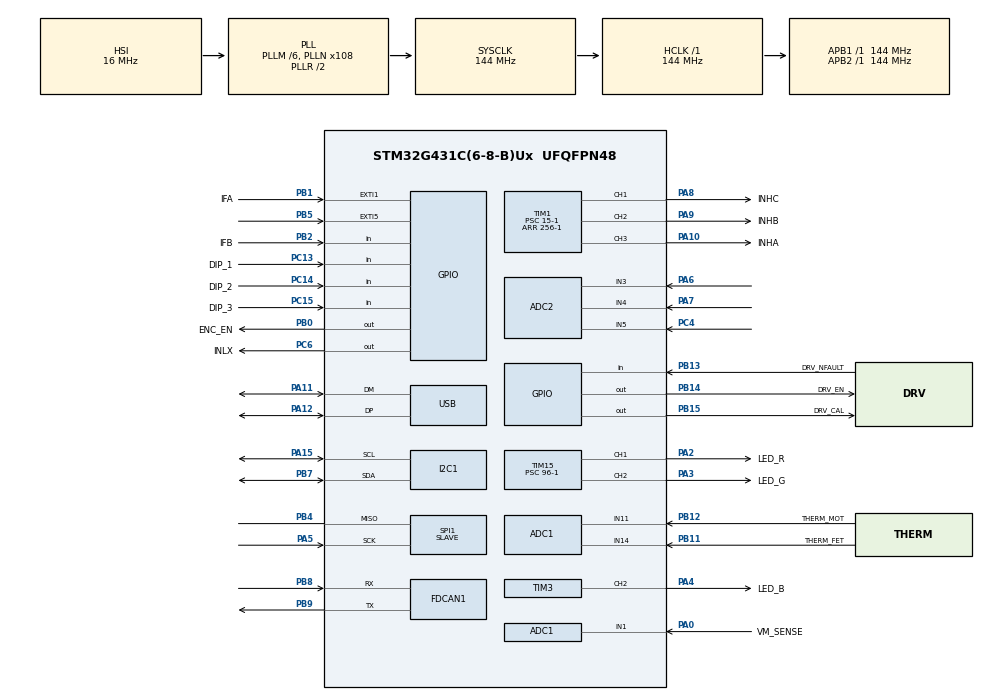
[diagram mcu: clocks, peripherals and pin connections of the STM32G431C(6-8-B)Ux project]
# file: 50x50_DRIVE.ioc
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ADC1.Channel-1\#ChannelRegularConversion=ADC_CHANNEL_1
ADC1.Channel-2\#ChannelRegularConversion=ADC_CHANNEL_TEMPSENSOR_ADC1
ADC1.Channel-3\#ChannelRegularConversion=ADC_CHANNEL_11
ADC1.Channel-4\#ChannelRegularConversion=ADC_CHANNEL_14
ADC1.ClockPrescaler=ADC_CLOCK_ASYNC_DIV4
ADC1.ContinuousConvMode=ENABLE
ADC1.DMAContinuousRequests=ENABLE
ADC1.NbrOfConversion=4
ADC1.NbrOfConversionFlag=1
ADC1.OffsetNumber-1\#ChannelRegularConversion=ADC_OFFSET_NONE
ADC1.OffsetNumber-2\#ChannelRegularConversion=ADC_OFFSET_NONE
ADC1.OffsetNumber-3\#ChannelRegularConversion=ADC_OFFSET_NONE
ADC1.OffsetNumber-4\#ChannelRegularConversion=ADC_OFFSET_NONE
ADC1.OversamplingMode=DISABLE
ADC1.Rank-1\#ChannelRegularConversion=1
ADC1.Rank-2\#ChannelRegularConversion=2
ADC1.Rank-3\#ChannelRegularConversion=3
ADC1.Rank-4\#ChannelRegularConversion=4
ADC1.SamplingTime-1\#ChannelRegularConversion=ADC_SAMPLETIME_12CYCLES_5
ADC1.SamplingTime-2\#ChannelRegularConversion=ADC_SAMPLETIME_12CYCLES_5
ADC1.SamplingTime-3\#ChannelRegularConversion=ADC_SAMPLETIME_12CYCLES_5
ADC1.SamplingTime-4\#ChannelRegularConversion=ADC_SAMPLETIME_12CYCLES_5
ADC1.master=1
ADC2.Channel-10\#ChannelRegularConversion=ADC_CHANNEL_5
ADC2.Channel-6\#ChannelRegularConversion=ADC_CHANNEL_3
ADC2.Channel-9\#ChannelRegularConversion=ADC_CHANNEL_4
ADC2.ClockPrescaler=ADC_CLOCK_ASYNC_DIV4
ADC2.DMAContinuousRequests=ENABLE
ADC2.DiscontinuousConvMode=DISABLE
ADC2.EOCSelection=ADC_EOC_SEQ_CONV
ADC2.EnableInjectedConversion=DISABLE
ADC2.ExternalTrigConv=ADC_EXTERNALTRIG_T1_TRGO
ADC2.ExternalTrigConvEdge=ADC_EXTERNALTRIGCONVEDGE_RISING
ADC2.NbrOfConversion=3
ADC2.NbrOfConversionFlag=1
ADC2.OffsetNumber-10\#ChannelRegularConversion=ADC_OFFSET_NONE
ADC2.OffsetNumber-6\#ChannelRegularConversion=ADC_OFFSET_NONE
ADC2.OffsetNumber-9\#ChannelRegularConversion=ADC_OFFSET_NONE
ADC2.Rank-10\#ChannelRegularConversion=3
ADC2.Rank-6\#ChannelRegularConversion=1
ADC2.Rank-9\#ChannelRegularConversion=2
ADC2.Rank1_Channel=ADC_CHANNEL_3
ADC2.Rank2_Channel=ADC_CHANNEL_3
ADC2.Rank3_Channel=ADC_CHANNEL_3
ADC2.SamplingTime-10\#ChannelRegularConversion=ADC_SAMPLETIME_2CYCLES_5
ADC2.SamplingTime-6\#ChannelRegularConversion=ADC_SAMPLETIME_2CYCLES_5
ADC2.SamplingTime-9\#ChannelRegularConversion=ADC_SAMPLETIME_2CYCLES_5
Dma.ADC1.0.Direction=DMA_PERIPH_TO_MEMORY
Dma.ADC1.0.EventEnable=DISABLE
Dma.ADC1.0.Instance=DMA1_Channel1
Dma.ADC1.0.MemDataAlignment=DMA_MDATAALIGN_HALFWORD
Dma.ADC1.0.MemInc=DMA_MINC_ENABLE
Dma.ADC1.0.Mode=DMA_CIRCULAR
Dma.ADC1.0.PeriphDataAlignment=DMA_PDATAALIGN_HALFWORD
Dma.ADC1.0.PeriphInc=DMA_PINC_DISABLE
Dma.ADC1.0.Polarity=HAL_DMAMUX_REQ_GEN_RISING
Dma.ADC1.0.Priority=DMA_PRIORITY_LOW
Dma.ADC1.0.RequestNumber=1
Dma.ADC1.0.SignalID=NONE
Dma.ADC1.0.SyncEnable=DISABLE
Dma.ADC1.0.SyncPolarity=HAL_DMAMUX_SYNC_NO_EVENT
Dma.ADC1.0.SyncRequestNumber=1
Dma.ADC1.0.SyncSignalID=NONE
Dma.ADC2.1.Direction=DMA_PERIPH_TO_MEMORY
Dma.ADC2.1.EventEnable=DISABLE
Dma.ADC2.1.Instance=DMA1_Channel2
Dma.ADC2.1.MemDataAlignment=DMA_MDATAALIGN_HALFWORD
Dma.ADC2.1.MemInc=DMA_MINC_ENABLE
Dma.ADC2.1.Mode=DMA_CIRCULAR
Dma.ADC2.1.PeriphDataAlignment=DMA_PDATAALIGN_HALFWORD
Dma.ADC2.1.PeriphInc=DMA_PINC_DISABLE
Dma.ADC2.1.Polarity=HAL_DMAMUX_REQ_GEN_RISING
Dma.ADC2.1.Priority=DMA_PRIORITY_LOW
Dma.ADC2.1.RequestNumber=1
Dma.ADC2.1.SignalID=NONE
Dma.ADC2.1.SyncEnable=DISABLE
Dma.ADC2.1.SyncPolarity=HAL_DMAMUX_SYNC_NO_EVENT
Dma.ADC2.1.SyncRequestNumber=1
Dma.ADC2.1.SyncSignalID=NONE
Dma.Request0=ADC1
Dma.Request1=ADC2
FDCAN1.AutoRetransmission=ENABLE
FDCAN1.CalculateBaudRateNominal=500000
FDCAN1.CalculateTimeBitNominal=2000
FDCAN1.CalculateTimeQuantumNominal=111.11111111111111
FDCAN1.NominalTimeSeg1=15
FDCAN1.ProtocolException=ENABLE
FDCAN1.TransmitPause=ENABLE
FREERTOS.Tasks01=defaultTask,24,128,StartDefaultTask,Default,NULL,Dynamic,NULL,NULL;statusBlink,8,128,StartStatusBlink,Default,NULL,Dynamic,NULL,NULL;mainStateLoop,40,128,StartMainStateLoop,Default,NULL,Dynamic,NULL,NULL
FREERTOS.configLIBRARY_MAX_SYSCALL_INTERRUPT_PRIORITY=5
I2C1.Timing=0x20B0D9FF
Mcu.Family=STM32G4
Mcu.Name=STM32G431C(6-8-B)Ux
Mcu.Package=UFQFPN48
NVIC.ADC1_2_IRQn=true\:5\:0\:false\:false\:true\:false\:true\:true\:true
NVIC.DMA1_Channel1_IRQn=true\:5\:0\:false\:false\:true\:false\:false\:true\:true
NVIC.DMA1_Channel2_IRQn=true\:5\:0\:false\:false\:true\:false\:false\:true\:true
NVIC.EXTI1_IRQn=true\:1\:0\:true\:false\:true\:false\:true\:true\:true
NVIC.FDCAN1_IT0_IRQn=true\:6\:0\:true\:false\:true\:false\:true\:true\:true
NVIC.PriorityGroup=NVIC_PRIORITYGROUP_4
NVIC.TIM1_TRG_COM_TIM17_IRQn=true\:5\:0\:false\:false\:true\:true\:true\:true\:true
NVIC.TIM1_UP_TIM16_IRQn=true\:5\:0\:false\:false\:true\:true\:true\:true\:true
NVIC.TIM2_IRQn=true\:15\:0\:false\:false\:true\:false\:false\:true\:true
NVIC.TIM6_DAC_IRQn=true\:6\:0\:true\:false\:true\:false\:true\:true\:true
NVIC.TimeBase=TIM2_IRQn
NVIC.TimeBaseIP=TIM2
NVIC.USB_LP_IRQn=true\:5\:0\:false\:false\:true\:true\:false\:true\:true
PA0.GPIO_Label=VM_SENSE
PA0.Mode=IN1-Single-Ended
PA0.Signal=ADC1_IN1
PA10.GPIO_Label=INHA
PA10.Signal=S_TIM1_CH3
PA11.Mode=Device
PA11.Signal=USB_DM
PA12.Mode=Device
PA12.Signal=USB_DP
PA13.Mode=Trace_Asynchronous_SW
PA13.Signal=SYS_JTMS-SWDIO
PA14.Mode=Trace_Asynchronous_SW
PA14.Signal=SYS_JTCK-SWCLK
PA15.Mode=I2C
PA15.Signal=I2C1_SCL
PA2.GPIO_Label=LED_R
PA2.Signal=S_TIM15_CH1
PA3.GPIO_Label=LED_G
PA3.Signal=S_TIM15_CH2
PA4.GPIO_Label=LED_B
PA4.Signal=S_TIM3_CH2
PA5.Mode=Simplex_Bidirectional_Slave
PA5.Signal=SPI1_SCK
PA6.GPIO_Mode=GPIO_MODE_ANALOG
PA6.GPIO_PuPd=GPIO_NOPULL
PA6.Mode=IN3-Single-Ended
PA6.Signal=ADC2_IN3
PA7.GPIO_Mode=GPIO_MODE_ANALOG
PA7.GPIO_PuPd=GPIO_NOPULL
PA7.Mode=IN4-Single-Ended
PA7.Signal=ADC2_IN4
PA8.GPIO_Label=INHC
PA8.Signal=S_TIM1_CH1
PA9.GPIO_Label=INHB
PA9.Signal=S_TIM1_CH2
PB0.GPIO_Label=ENC_EN
PB0.Signal=GPIO_Output
PB1.GPIO_Label=IFA
PB1.GPIO_ModeDefaultEXTI=GPIO_MODE_IT_RISING
PB1.GPIO_PuPd=GPIO_NOPULL
PB1.Signal=GPXTI1
PB11.GPIO_Label=THERM_FET
PB11.Mode=IN14-Single-Ended
PB11.Signal=ADC1_IN14
PB12.GPIO_Label=THERM_MOT
PB12.Mode=IN11-Single-Ended
PB12.Signal=ADC1_IN11
PB13.GPIO_Label=DRV_NFAULT
PB13.Signal=GPIO_Input
PB14.GPIO_Label=DRV_EN
PB14.Signal=GPIO_Output
PB15.GPIO_Label=DRV_CAL
PB15.Signal=GPIO_Output
PB2.GPIO_Label=IFB
PB2.GPIO_PuPd=GPIO_NOPULL
PB2.Signal=GPIO_Input
PB3.Mode=Trace_Asynchronous_SW
PB3.Signal=SYS_JTDO-SWO
PB4.Mode=Simplex_Bidirectional_Slave
PB4.Signal=SPI1_MISO
PB5.Signal=GPXTI5
PB7.Mode=I2C
PB7.Signal=I2C1_SDA
PB8-BOOT0.Mode=FDCAN_Activate
PB8-BOOT0.Signal=FDCAN1_RX
PB9.Mode=FDCAN_Activate
PB9.Signal=FDCAN1_TX
PC13.GPIO_Label=DIP_1
PC13.GPIO_Mode=GPIO_MODE_INPUT
PC13.GPIO_PuPd=GPIO_PULLUP
PC13.Signal=GPIO_Input
PC14-OSC32_IN.GPIO_Label=DIP_2
PC14-OSC32_IN.GPIO_Mode=GPIO_MODE_INPUT
PC14-OSC32_IN.GPIO_PuPd=GPIO_PULLUP
PC14-OSC32_IN.Signal=GPIO_Input
PC15-OSC32_OUT.GPIO_Label=DIP_3
PC15-OSC32_OUT.GPIO_Mode=GPIO_MODE_INPUT
PC15-OSC32_OUT.GPIO_PuPd=GPIO_PULLUP
PC15-OSC32_OUT.Signal=GPIO_Input
PC4.GPIO_Mode=GPIO_MODE_ANALOG
PC4.GPIO_PuPd=GPIO_NOPULL
PC4.Mode=IN5-Single-Ended
PC4.Signal=ADC2_IN5
PC6.GPIO_Label=INLX
PC6.Signal=GPIO_Output
ProjectManager.HeapSize=0x200
ProjectManager.StackSize=0x400
ProjectManager.TargetToolchain=Makefile
RCC.ADC12Freq_Value=144000000
RCC.AHBFreq_Value=144000000
RCC.APB1Freq_Value=144000000
RCC.APB1TimFreq_Value=144000000
RCC.APB2Freq_Value=144000000
RCC.APB2TimFreq_Value=144000000
RCC.CortexFreq_Value=144000000
RCC.EXTERNAL_CLOCK_VALUE=12288000
RCC.HCLKFreq_Value=144000000
RCC.HSE_VALUE=8000000
RCC.HSI48_VALUE=48000000
RCC.HSI_VALUE=16000000
RCC.LSE_VALUE=32768
RCC.PLLM=RCC_PLLM_DIV6
RCC.PLLN=108
RCC.PLLQ=RCC_PLLQ_DIV6
RCC.SYSCLKFreq_VALUE=144000000
RCC.SYSCLKSource=RCC_SYSCLKSOURCE_PLLCLK
RCC.USBFreq_Value=48000000
RCC.VCOOutputFreq_Value=288000000
SH.S_TIM15_CH1.0=TIM15_CH1,PWM Generation1 CH1
SH.S_TIM15_CH2.0=TIM15_CH2,PWM Generation2 CH2
SH.S_TIM1_CH1.0=TIM1_CH1,PWM Generation1 CH1
SH.S_TIM1_CH2.0=TIM1_CH2,PWM Generation2 CH2
SH.S_TIM1_CH3.0=TIM1_CH3,PWM Generation3 CH3
SH.S_TIM3_CH2.0=TIM3_CH2,PWM Generation2 CH2
SPI1.Direction=SPI_DIRECTION_1LINE
SPI1.Mode=SPI_MODE_SLAVE
SPI1.VirtualType=VM_SLAVE
TIM1.AutoReloadPreload=TIM_AUTORELOAD_PRELOAD_DISABLE
TIM1.Channel-Output\ Compare4\ No\ Output=TIM_CHANNEL_4
TIM1.Channel-PWM\ Generation1\ CH1=TIM_CHANNEL_1
TIM1.Channel-PWM\ Generation2\ CH2=TIM_CHANNEL_2
TIM1.Channel-PWM\ Generation3\ CH3=TIM_CHANNEL_3
TIM1.CounterMode=TIM_COUNTERMODE_CENTERALIGNED1
TIM1.OCMode_4=TIM_OCMODE_DIRECTION_OUTPUT
TIM1.OCPolarity_1=TIM_OCPOLARITY_HIGH
TIM1.OCPolarity_2=TIM_OCPOLARITY_HIGH
TIM1.OCPolarity_3=TIM_OCPOLARITY_HIGH
TIM1.PeriodNoDither=256-1
TIM1.Prescaler=15-1
TIM1.TIM_MasterOutputTrigger=TIM_TRGO_OC4REF
TIM1.TIM_MasterOutputTrigger2=TIM_TRGO2_RESET
TIM1.TIM_MasterSlaveMode=TIM_MASTERSLAVEMODE_DISABLE
TIM15.Channel-PWM\ Generation1\ CH1=TIM_CHANNEL_1
TIM15.Channel-PWM\ Generation2\ CH2=TIM_CHANNEL_2
TIM15.OCIdleState_1=TIM_OCIDLESTATE_SET
TIM15.OCIdleState_2=TIM_OCIDLESTATE_SET
TIM15.OCPolarity_1=TIM_OCPOLARITY_LOW
TIM15.OCPolarity_2=TIM_OCPOLARITY_LOW
TIM15.PeriodNoDither=200-1
TIM15.Prescaler=96-1
TIM16.PeriodNoDither=1000-1
TIM16.Prescaler=144-1
TIM3.Channel-PWM\ Generation2\ CH2=TIM_CHANNEL_2
TIM3.OCPolarity_2=TIM_OCPOLARITY_LOW
TIM3.PeriodNoDither=200-1
TIM3.Prescaler=96 -1
TIM6.PeriodNoDither=100-1
TIM6.Prescaler=144-1
TIM7.Prescaler=14400-1
USB.Sof_enable=ENABLE
USB_DEVICE.CLASS_NAME_FS=CDC
USB_DEVICE.PRODUCT_STRING_CDC_FS=50x50-Drive
USB_DEVICE.USBD_DEBUG_LEVEL=1
USB_DEVICE.USBD_SELF_POWERED=0
USB_DEVICE.VirtualMode=Cdc
USB_DEVICE.VirtualModeFS=Cdc_FS
VP_ADC1_TempSens_Input.Mode=IN-TempSens
VP_FREERTOS_VS_CMSIS_V2.Mode=CMSIS_V2
VP_SYS_VS_DBSignals.Mode=DisableDeadBatterySignals
VP_SYS_VS_tim2.Mode=TIM2
VP_TIM16_VS_ClockSourceINT.Mode=Enable_Timer
VP_TIM1_VS_ClockSourceINT.Mode=Internal
VP_TIM1_VS_no_output4.Mode=Output Compare4 No Output
VP_TIM3_VS_ClockSourceITR.Mode=TriggerSource_ITR0
VP_TIM6_VS_ClockSourceINT.Mode=Enable_Timer
VP_TIM7_VS_ClockSourceINT.Mode=Enable_Timer
VP_USB_DEVICE_VS_USB_DEVICE_CDC_FS.Mode=CDC_FS
board=custom

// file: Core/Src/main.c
/* USER CODE BEGIN Header */
/**
  ******************************************************************************
  * @file           : main.c
  * @brief          : Main program body
  ******************************************************************************
  * @attention
  *
  * Copyright (c) 2023 STMicroelectronics.
  * All rights reserved.
  *
  * This software is licensed under terms that can be found in the LICENSE file
  * in the root directory of this software component.
  * If no LICENSE file comes with this software, it is provided AS-IS.
  *
  ******************************************************************************
  */
/* USER CODE END Header */
#include "main.h"
#include "cmsis_os.h"
#include "usb_device.h"

/* USER CODE BEGIN Includes */
#include "app.h"
#include "foc.h"
#include "sensors.h"
#include "mem.h"
/* USER CODE END Includes */

ADC_HandleTypeDef hadc1;
ADC_HandleTypeDef hadc2;
DMA_HandleTypeDef hdma_adc1;
DMA_HandleTypeDef hdma_adc2;

FDCAN_HandleTypeDef hfdcan1;

I2C_HandleTypeDef hi2c1;

SPI_HandleTypeDef hspi1;

TIM_HandleTypeDef htim1;
TIM_HandleTypeDef htim3;
TIM_HandleTypeDef htim6;
TIM_HandleTypeDef htim7;
TIM_HandleTypeDef htim15;
TIM_HandleTypeDef htim16;

/* Definitions for defaultTask */
osThreadId_t defaultTaskHandle;
const osThreadAttr_t defaultTask_attributes = {
  .name = "defaultTask",
  .priority = (osPriority_t) osPriorityNormal,
  .stack_size = 128 * 4
};
/* Definitions for statusBlink */
osThreadId_t statusBlinkHandle;
const osThreadAttr_t statusBlink_attributes = {
  .name = "statusBlink",
  .priority = (osPriority_t) osPriorityLow,
  .stack_size = 128 * 4
};
/* Definitions for mainStateLoop */
osThreadId_t mainStateLoopHandle;
const osThreadAttr_t mainStateLoop_attributes = {
  .name = "mainStateLoop",
  .priority = (osPriority_t) osPriorityHigh,
  .stack_size = 128 * 4
};

void SystemClock_Config(void);
static void MX_GPIO_Init(void);
static void MX_DMA_Init(void);
static void MX_ADC1_Init(void);
static void MX_ADC2_Init(void);
static void MX_TIM1_Init(void);
static void MX_I2C1_Init(void);
static void MX_TIM3_Init(void);
static void MX_TIM15_Init(void);
static void MX_TIM6_Init(void);
static void MX_TIM7_Init(void);
static void MX_FDCAN1_Init(void);
static void MX_SPI1_Init(void);
static void MX_TIM16_Init(void);
void StartDefaultTask(void *argument);
void StartStatusBlink(void *argument);
void StartMainStateLoop(void *argument);

int main(void)
{

  /* MCU Configuration--------------------------------------------------------*/

  /* Reset of all peripherals, Initializes the Flash interface and the Systick. */
  HAL_Init();

  /* USER CODE BEGIN Init */
  __enable_irq();
  /* USER CODE END Init */

  /* Configure the system clock */
  SystemClock_Config();

  /* Initialize all configured peripherals */
  MX_GPIO_Init();
  MX_DMA_Init();
  MX_ADC1_Init();
  MX_ADC2_Init();
  MX_TIM1_Init();
  MX_I2C1_Init();
  MX_USB_Device_Init();
  MX_TIM3_Init();
  MX_TIM15_Init();
  MX_TIM6_Init();
  MX_TIM7_Init();
  MX_FDCAN1_Init();
  MX_SPI1_Init();
  MX_TIM16_Init();
  /* USER CODE BEGIN 2 */
  app_setup();

  // mem_write_uint32(500000, 1, 0);
  // volatile uint32_t test = mem_read_uint32(1, 0);

  /* USER CODE END 2 */

  /* Init scheduler */
  osKernelInitialize();

  /* Create the thread(s) */
  /* creation of defaultTask */
  defaultTaskHandle = osThreadNew(StartDefaultTask, NULL, &defaultTask_attributes);

  /* creation of statusBlink */
  statusBlinkHandle = osThreadNew(StartStatusBlink, NULL, &statusBlink_attributes);

  /* creation of mainStateLoop */
  mainStateLoopHandle = osThreadNew(StartMainStateLoop, NULL, &mainStateLoop_attributes);

  /* Start scheduler */
  osKernelStart();

  /* We should never get here as control is now taken by the scheduler */
  /* Infinite loop */
  while (1)
  {

  }
}

void SystemClock_Config(void)
{
  RCC_OscInitTypeDef RCC_OscInitStruct = {0};
  RCC_ClkInitTypeDef RCC_ClkInitStruct = {0};

  /** Configure the main internal regulator output voltage
  */
  HAL_PWREx_ControlVoltageScaling(PWR_REGULATOR_VOLTAGE_SCALE1);

  /** Initializes the RCC Oscillators according to the specified parameters
  * in the RCC_OscInitTypeDef structure.
  */
  RCC_OscInitStruct.OscillatorType = RCC_OSCILLATORTYPE_HSI;
  RCC_OscInitStruct.HSIState = RCC_HSI_ON;
  RCC_OscInitStruct.HSICalibrationValue = RCC_HSICALIBRATION_DEFAULT;
  RCC_OscInitStruct.PLL.PLLState = RCC_PLL_ON;
  RCC_OscInitStruct.PLL.PLLSource = RCC_PLLSOURCE_HSI;
  RCC_OscInitStruct.PLL.PLLM = RCC_PLLM_DIV6;
  RCC_OscInitStruct.PLL.PLLN = 108;
  RCC_OscInitStruct.PLL.PLLP = RCC_PLLP_DIV2;
  RCC_OscInitStruct.PLL.PLLQ = RCC_PLLQ_DIV6;
  RCC_OscInitStruct.PLL.PLLR = RCC_PLLR_DIV2;
  if (HAL_RCC_OscConfig(&RCC_OscInitStruct) != HAL_OK)
  {
    Error_Handler();
  }

  /** Initializes the CPU, AHB and APB buses clocks
  */
  RCC_ClkInitStruct.ClockType = RCC_CLOCKTYPE_HCLK|RCC_CLOCKTYPE_SYSCLK
                              |RCC_CLOCKTYPE_PCLK1|RCC_CLOCKTYPE_PCLK2;
  RCC_ClkInitStruct.SYSCLKSource = RCC_SYSCLKSOURCE_PLLCLK;
  RCC_ClkInitStruct.AHBCLKDivider = RCC_SYSCLK_DIV1;
  RCC_ClkInitStruct.APB1CLKDivider = RCC_HCLK_DIV1;
  RCC_ClkInitStruct.APB2CLKDivider = RCC_HCLK_DIV1;

  if (HAL_RCC_ClockConfig(&RCC_ClkInitStruct, FLASH_LATENCY_4) != HAL_OK)
  {
    Error_Handler();
  }
}

static void MX_ADC1_Init(void)
{

  ADC_MultiModeTypeDef multimode = {0};
  ADC_ChannelConfTypeDef sConfig = {0};

  /** Common config
  */
  hadc1.Instance = ADC1;
  hadc1.Init.ClockPrescaler = ADC_CLOCK_ASYNC_DIV4;
  hadc1.Init.Resolution = ADC_RESOLUTION_12B;
  hadc1.Init.DataAlign = ADC_DATAALIGN_RIGHT;
  hadc1.Init.GainCompensation = 0;
  hadc1.Init.ScanConvMode = ADC_SCAN_ENABLE;
  hadc1.Init.EOCSelection = ADC_EOC_SINGLE_CONV;
  hadc1.Init.LowPowerAutoWait = DISABLE;
  hadc1.Init.ContinuousConvMode = ENABLE;
  hadc1.Init.NbrOfConversion = 4;
  hadc1.Init.DiscontinuousConvMode = DISABLE;
  hadc1.Init.ExternalTrigConv = ADC_SOFTWARE_START;
  hadc1.Init.ExternalTrigConvEdge = ADC_EXTERNALTRIGCONVEDGE_NONE;
  hadc1.Init.DMAContinuousRequests = ENABLE;
  hadc1.Init.Overrun = ADC_OVR_DATA_PRESERVED;
  hadc1.Init.OversamplingMode = DISABLE;
  if (HAL_ADC_Init(&hadc1) != HAL_OK)
  {
    Error_Handler();
  }

  /** Configure the ADC multi-mode
  */
  multimode.Mode = ADC_MODE_INDEPENDENT;
  if (HAL_ADCEx_MultiModeConfigChannel(&hadc1, &multimode) != HAL_OK)
  {
    Error_Handler();
  }

  /** Configure Regular Channel
  */
  sConfig.Channel = ADC_CHANNEL_1;
  sConfig.Rank = ADC_REGULAR_RANK_1;
  sConfig.SamplingTime = ADC_SAMPLETIME_12CYCLES_5;
  sConfig.SingleDiff = ADC_SINGLE_ENDED;
  sConfig.OffsetNumber = ADC_OFFSET_NONE;
  sConfig.Offset = 0;
  if (HAL_ADC_ConfigChannel(&hadc1, &sConfig) != HAL_OK)
  {
    Error_Handler();
  }

  /** Configure Regular Channel
  */
  sConfig.Channel = ADC_CHANNEL_TEMPSENSOR_ADC1;
  sConfig.Rank = ADC_REGULAR_RANK_2;
  if (HAL_ADC_ConfigChannel(&hadc1, &sConfig) != HAL_OK)
  {
    Error_Handler();
  }

  /** Configure Regular Channel
  */
  sConfig.Channel = ADC_CHANNEL_11;
  sConfig.Rank = ADC_REGULAR_RANK_3;
  if (HAL_ADC_ConfigChannel(&hadc1, &sConfig) != HAL_OK)
  {
    Error_Handler();
  }

  /** Configure Regular Channel
  */
  sConfig.Channel = ADC_CHANNEL_14;
  sConfig.Rank = ADC_REGULAR_RANK_4;
  if (HAL_ADC_ConfigChannel(&hadc1, &sConfig) != HAL_OK)
  {
    Error_Handler();
  }

}

static void MX_ADC2_Init(void)
{

  ADC_ChannelConfTypeDef sConfig = {0};

  /** Common config
  */
  hadc2.Instance = ADC2;
  hadc2.Init.ClockPrescaler = ADC_CLOCK_ASYNC_DIV4;
  hadc2.Init.Resolution = ADC_RESOLUTION_12B;
  hadc2.Init.DataAlign = ADC_DATAALIGN_RIGHT;
  hadc2.Init.GainCompensation = 0;
  hadc2.Init.ScanConvMode = ADC_SCAN_ENABLE;
  hadc2.Init.EOCSelection = ADC_EOC_SEQ_CONV;
  hadc2.Init.LowPowerAutoWait = DISABLE;
  hadc2.Init.ContinuousConvMode = DISABLE;
  hadc2.Init.NbrOfConversion = 3;
  hadc2.Init.DiscontinuousConvMode = DISABLE;
  hadc2.Init.ExternalTrigConv = ADC_EXTERNALTRIG_T1_TRGO;
  hadc2.Init.ExternalTrigConvEdge = ADC_EXTERNALTRIGCONVEDGE_RISING;
  hadc2.Init.DMAContinuousRequests = ENABLE;
  hadc2.Init.Overrun = ADC_OVR_DATA_PRESERVED;
  hadc2.Init.OversamplingMode = DISABLE;
  if (HAL_ADC_Init(&hadc2) != HAL_OK)
  {
    Error_Handler();
  }

  /** Configure Regular Channel
  */
  sConfig.Channel = ADC_CHANNEL_3;
  sConfig.Rank = ADC_REGULAR_RANK_1;
  sConfig.SamplingTime = ADC_SAMPLETIME_2CYCLES_5;
  sConfig.SingleDiff = ADC_SINGLE_ENDED;
  sConfig.OffsetNumber = ADC_OFFSET_NONE;
  sConfig.Offset = 0;
  if (HAL_ADC_ConfigChannel(&hadc2, &sConfig) != HAL_OK)
  {
    Error_Handler();
  }

  /** Configure Regular Channel
  */
  sConfig.Channel = ADC_CHANNEL_4;
  sConfig.Rank = ADC_REGULAR_RANK_2;
  if (HAL_ADC_ConfigChannel(&hadc2, &sConfig) != HAL_OK)
  {
    Error_Handler();
  }

  /** Configure Regular Channel
  */
  sConfig.Channel = ADC_CHANNEL_5;
  sConfig.Rank = ADC_REGULAR_RANK_3;
  if (HAL_ADC_ConfigChannel(&hadc2, &sConfig) != HAL_OK)
  {
    Error_Handler();
  }

}

static void MX_FDCAN1_Init(void)
{

  hfdcan1.Instance = FDCAN1;
  hfdcan1.Init.ClockDivider = FDCAN_CLOCK_DIV1;
  hfdcan1.Init.FrameFormat = FDCAN_FRAME_CLASSIC;
  hfdcan1.Init.Mode = FDCAN_MODE_NORMAL;
  hfdcan1.Init.AutoRetransmission = ENABLE;
  hfdcan1.Init.TransmitPause = ENABLE;
  hfdcan1.Init.ProtocolException = ENABLE;
  hfdcan1.Init.NominalPrescaler = 16;
  hfdcan1.Init.NominalSyncJumpWidth = 1;
  hfdcan1.Init.NominalTimeSeg1 = 15;
  hfdcan1.Init.NominalTimeSeg2 = 2;
  hfdcan1.Init.DataPrescaler = 1;
  hfdcan1.Init.DataSyncJumpWidth = 1;
  hfdcan1.Init.DataTimeSeg1 = 1;
  hfdcan1.Init.DataTimeSeg2 = 1;
  hfdcan1.Init.StdFiltersNbr = 0;
  hfdcan1.Init.ExtFiltersNbr = 0;
  hfdcan1.Init.TxFifoQueueMode = FDCAN_TX_FIFO_OPERATION;
  if (HAL_FDCAN_Init(&hfdcan1) != HAL_OK)
  {
    Error_Handler();
  }

}

static void MX_I2C1_Init(void)
{

  hi2c1.Instance = I2C1;
  hi2c1.Init.Timing = 0x20B0D9FF;
  hi2c1.Init.OwnAddress1 = 0;
  hi2c1.Init.AddressingMode = I2C_ADDRESSINGMODE_7BIT;
  hi2c1.Init.DualAddressMode = I2C_DUALADDRESS_DISABLE;
  hi2c1.Init.OwnAddress2 = 0;
  hi2c1.Init.OwnAddress2Masks = I2C_OA2_NOMASK;
  hi2c1.Init.GeneralCallMode = I2C_GENERALCALL_DISABLE;
  hi2c1.Init.NoStretchMode = I2C_NOSTRETCH_DISABLE;
  if (HAL_I2C_Init(&hi2c1) != HAL_OK)
  {
    Error_Handler();
  }

  /** Configure Analogue filter
  */
  if (HAL_I2CEx_ConfigAnalogFilter(&hi2c1, I2C_ANALOGFILTER_ENABLE) != HAL_OK)
  {
    Error_Handler();
  }

  /** Configure Digital filter
  */
  if (HAL_I2CEx_ConfigDigitalFilter(&hi2c1, 0) != HAL_OK)
  {
    Error_Handler();
  }

}

static void MX_SPI1_Init(void)
{

  /* SPI1 parameter configuration*/
  hspi1.Instance = SPI1;
  hspi1.Init.Mode = SPI_MODE_SLAVE;
  hspi1.Init.Direction = SPI_DIRECTION_1LINE;
  hspi1.Init.DataSize = SPI_DATASIZE_4BIT;
  hspi1.Init.CLKPolarity = SPI_POLARITY_LOW;
  hspi1.Init.CLKPhase = SPI_PHASE_1EDGE;
  hspi1.Init.NSS = SPI_NSS_SOFT;
  hspi1.Init.FirstBit = SPI_FIRSTBIT_MSB;
  hspi1.Init.TIMode = SPI_TIMODE_DISABLE;
  hspi1.Init.CRCCalculation = SPI_CRCCALCULATION_DISABLE;
  hspi1.Init.CRCPolynomial = 7;
  hspi1.Init.CRCLength = SPI_CRC_LENGTH_DATASIZE;
  hspi1.Init.NSSPMode = SPI_NSS_PULSE_DISABLE;
  if (HAL_SPI_Init(&hspi1) != HAL_OK)
  {
    Error_Handler();
  }

}

static void MX_TIM1_Init(void)
{

  TIM_ClockConfigTypeDef sClockSourceConfig = {0};
  TIM_MasterConfigTypeDef sMasterConfig = {0};
  TIM_OC_InitTypeDef sConfigOC = {0};
  TIM_BreakDeadTimeConfigTypeDef sBreakDeadTimeConfig = {0};

  htim1.Instance = TIM1;
  htim1.Init.Prescaler = 15-1;
  htim1.Init.CounterMode = TIM_COUNTERMODE_CENTERALIGNED1;
  htim1.Init.Period = 255;
  htim1.Init.ClockDivision = TIM_CLOCKDIVISION_DIV1;
  htim1.Init.RepetitionCounter = 0;
  htim1.Init.AutoReloadPreload = TIM_AUTORELOAD_PRELOAD_DISABLE;
  if (HAL_TIM_Base_Init(&htim1) != HAL_OK)
  {
    Error_Handler();
  }
  sClockSourceConfig.ClockSource = TIM_CLOCKSOURCE_INTERNAL;
  if (HAL_TIM_ConfigClockSource(&htim1, &sClockSourceConfig) != HAL_OK)
  {
    Error_Handler();
  }
  if (HAL_TIM_PWM_Init(&htim1) != HAL_OK)
  {
    Error_Handler();
  }
  if (HAL_TIM_OC_Init(&htim1) != HAL_OK)
  {
    Error_Handler();
  }
  sMasterConfig.MasterOutputTrigger = TIM_TRGO_OC4REF;
  sMasterConfig.MasterOutputTrigger2 = TIM_TRGO2_RESET;
  sMasterConfig.MasterSlaveMode = TIM_MASTERSLAVEMODE_DISABLE;
  if (HAL_TIMEx_MasterConfigSynchronization(&htim1, &sMasterConfig) != HAL_OK)
  {
    Error_Handler();
  }
  sConfigOC.OCMode = TIM_OCMODE_PWM1;
  sConfigOC.Pulse = 0;
  sConfigOC.OCPolarity = TIM_OCPOLARITY_HIGH;
  sConfigOC.OCNPolarity = TIM_OCNPOLARITY_HIGH;
  sConfigOC.OCFastMode = TIM_OCFAST_DISABLE;
  sConfigOC.OCIdleState = TIM_OCIDLESTATE_RESET;
  sConfigOC.OCNIdleState = TIM_OCNIDLESTATE_RESET;
  if (HAL_TIM_PWM_ConfigChannel(&htim1, &sConfigOC, TIM_CHANNEL_1) != HAL_OK)
  {
    Error_Handler();
  }
  if (HAL_TIM_PWM_ConfigChannel(&htim1, &sConfigOC, TIM_CHANNEL_2) != HAL_OK)
  {
    Error_Handler();
  }
  if (HAL_TIM_PWM_ConfigChannel(&htim1, &sConfigOC, TIM_CHANNEL_3) != HAL_OK)
  {
    Error_Handler();
  }
  sConfigOC.OCMode = TIM_OCMODE_DIRECTION_OUTPUT;
  if (HAL_TIM_OC_ConfigChannel(&htim1, &sConfigOC, TIM_CHANNEL_4) != HAL_OK)
  {
    Error_Handler();
  }
  sBreakDeadTimeConfig.OffStateRunMode = TIM_OSSR_DISABLE;
  sBreakDeadTimeConfig.OffStateIDLEMode = TIM_OSSI_DISABLE;
  sBreakDeadTimeConfig.LockLevel = TIM_LOCKLEVEL_OFF;
  sBreakDeadTimeConfig.DeadTime = 0;
  sBreakDeadTimeConfig.BreakState = TIM_BREAK_DISABLE;
  sBreakDeadTimeConfig.BreakPolarity = TIM_BREAKPOLARITY_HIGH;
  sBreakDeadTimeConfig.BreakFilter = 0;
  sBreakDeadTimeConfig.BreakAFMode = TIM_BREAK_AFMODE_INPUT;
  sBreakDeadTimeConfig.Break2State = TIM_BREAK2_DISABLE;
  sBreakDeadTimeConfig.Break2Polarity = TIM_BREAK2POLARITY_HIGH;
  sBreakDeadTimeConfig.Break2Filter = 0;
  sBreakDeadTimeConfig.Break2AFMode = TIM_BREAK_AFMODE_INPUT;
  sBreakDeadTimeConfig.AutomaticOutput = TIM_AUTOMATICOUTPUT_DISABLE;
  if (HAL_TIMEx_ConfigBreakDeadTime(&htim1, &sBreakDeadTimeConfig) != HAL_OK)
  {
    Error_Handler();
  }
  HAL_TIM_MspPostInit(&htim1);

}

static void MX_TIM3_Init(void)
{

  TIM_SlaveConfigTypeDef sSlaveConfig = {0};
  TIM_MasterConfigTypeDef sMasterConfig = {0};
  TIM_OC_InitTypeDef sConfigOC = {0};

  htim3.Instance = TIM3;
  htim3.Init.Prescaler = 96 -1;
  htim3.Init.CounterMode = TIM_COUNTERMODE_UP;
  htim3.Init.Period = 199;
  htim3.Init.ClockDivision = TIM_CLOCKDIVISION_DIV1;
  htim3.Init.AutoReloadPreload = TIM_AUTORELOAD_PRELOAD_DISABLE;
  if (HAL_TIM_Base_Init(&htim3) != HAL_OK)
  {
    Error_Handler();
  }
  if (HAL_TIM_PWM_Init(&htim3) != HAL_OK)
  {
    Error_Handler();
  }
  sSlaveConfig.SlaveMode = TIM_SLAVEMODE_DISABLE;
  sSlaveConfig.InputTrigger = TIM_TS_ITR0;
  if (HAL_TIM_SlaveConfigSynchro(&htim3, &sSlaveConfig) != HAL_OK)
  {
    Error_Handler();
  }
  sMasterConfig.MasterOutputTrigger = TIM_TRGO_RESET;
  sMasterConfig.MasterSlaveMode = TIM_MASTERSLAVEMODE_DISABLE;
  if (HAL_TIMEx_MasterConfigSynchronization(&htim3, &sMasterConfig) != HAL_OK)
  {
    Error_Handler();
  }
  sConfigOC.OCMode = TIM_OCMODE_PWM1;
  sConfigOC.Pulse = 0;
  sConfigOC.OCPolarity = TIM_OCPOLARITY_LOW;
  sConfigOC.OCFastMode = TIM_OCFAST_DISABLE;
  if (HAL_TIM_PWM_ConfigChannel(&htim3, &sConfigOC, TIM_CHANNEL_2) != HAL_OK)
  {
    Error_Handler();
  }
  HAL_TIM_MspPostInit(&htim3);

}

static void MX_TIM6_Init(void)
{

  TIM_MasterConfigTypeDef sMasterConfig = {0};

  htim6.Instance = TIM6;
  htim6.Init.Prescaler = 144-1;
  htim6.Init.CounterMode = TIM_COUNTERMODE_UP;
  htim6.Init.Period = 99;
  htim6.Init.AutoReloadPreload = TIM_AUTORELOAD_PRELOAD_DISABLE;
  if (HAL_TIM_Base_Init(&htim6) != HAL_OK)
  {
    Error_Handler();
  }
  sMasterConfig.MasterOutputTrigger = TIM_TRGO_RESET;
  sMasterConfig.MasterSlaveMode = TIM_MASTERSLAVEMODE_DISABLE;
  if (HAL_TIMEx_MasterConfigSynchronization(&htim6, &sMasterConfig) != HAL_OK)
  {
    Error_Handler();
  }

}

static void MX_TIM7_Init(void)
{

  TIM_MasterConfigTypeDef sMasterConfig = {0};

  htim7.Instance = TIM7;
  htim7.Init.Prescaler = 14400-1;
  htim7.Init.CounterMode = TIM_COUNTERMODE_UP;
  htim7.Init.Period = 65535;
  htim7.Init.AutoReloadPreload = TIM_AUTORELOAD_PRELOAD_DISABLE;
  if (HAL_TIM_Base_Init(&htim7) != HAL_OK)
  {
    Error_Handler();
  }
  sMasterConfig.MasterOutputTrigger = TIM_TRGO_RESET;
  sMasterConfig.MasterSlaveMode = TIM_MASTERSLAVEMODE_DISABLE;
  if (HAL_TIMEx_MasterConfigSynchronization(&htim7, &sMasterConfig) != HAL_OK)
  {
    Error_Handler();
  }

}

static void MX_TIM15_Init(void)
{

  TIM_MasterConfigTypeDef sMasterConfig = {0};
  TIM_OC_InitTypeDef sConfigOC = {0};
  TIM_BreakDeadTimeConfigTypeDef sBreakDeadTimeConfig = {0};

  htim15.Instance = TIM15;
  htim15.Init.Prescaler = 96-1;
  htim15.Init.CounterMode = TIM_COUNTERMODE_UP;
  htim15.Init.Period = 199;
  htim15.Init.ClockDivision = TIM_CLOCKDIVISION_DIV1;
  htim15.Init.RepetitionCounter = 0;
  htim15.Init.AutoReloadPreload = TIM_AUTORELOAD_PRELOAD_DISABLE;
  if (HAL_TIM_PWM_Init(&htim15) != HAL_OK)
  {
    Error_Handler();
  }
  sMasterConfig.MasterOutputTrigger = TIM_TRGO_RESET;
  sMasterConfig.MasterSlaveMode = TIM_MASTERSLAVEMODE_DISABLE;
  if (HAL_TIMEx_MasterConfigSynchronization(&htim15, &sMasterConfig) != HAL_OK)
  {
    Error_Handler();
  }
  sConfigOC.OCMode = TIM_OCMODE_PWM1;
  sConfigOC.Pulse = 0;
  sConfigOC.OCPolarity = TIM_OCPOLARITY_LOW;
  sConfigOC.OCNPolarity = TIM_OCNPOLARITY_HIGH;
  sConfigOC.OCFastMode = TIM_OCFAST_DISABLE;
  sConfigOC.OCIdleState = TIM_OCIDLESTATE_SET;
  sConfigOC.OCNIdleState = TIM_OCNIDLESTATE_RESET;
  if (HAL_TIM_PWM_ConfigChannel(&htim15, &sConfigOC, TIM_CHANNEL_1) != HAL_OK)
  {
    Error_Handler();
  }
  if (HAL_TIM_PWM_ConfigChannel(&htim15, &sConfigOC, TIM_CHANNEL_2) != HAL_OK)
  {
    Error_Handler();
  }
  sBreakDeadTimeConfig.OffStateRunMode = TIM_OSSR_DISABLE;
  sBreakDeadTimeConfig.OffStateIDLEMode = TIM_OSSI_DISABLE;
  sBreakDeadTimeConfig.LockLevel = TIM_LOCKLEVEL_OFF;
  sBreakDeadTimeConfig.DeadTime = 0;
  sBreakDeadTimeConfig.BreakState = TIM_BREAK_DISABLE;
  sBreakDeadTimeConfig.BreakPolarity = TIM_BREAKPOLARITY_HIGH;
  sBreakDeadTimeConfig.BreakFilter = 0;
  sBreakDeadTimeConfig.AutomaticOutput = TIM_AUTOMATICOUTPUT_DISABLE;
  if (HAL_TIMEx_ConfigBreakDeadTime(&htim15, &sBreakDeadTimeConfig) != HAL_OK)
  {
    Error_Handler();
  }
  HAL_TIM_MspPostInit(&htim15);

}

static void MX_TIM16_Init(void)
{

  htim16.Instance = TIM16;
  htim16.Init.Prescaler = 144-1;
  htim16.Init.CounterMode = TIM_COUNTERMODE_UP;
  htim16.Init.Period = 999;
  htim16.Init.ClockDivision = TIM_CLOCKDIVISION_DIV1;
  htim16.Init.RepetitionCounter = 0;
  htim16.Init.AutoReloadPreload = TIM_AUTORELOAD_PRELOAD_DISABLE;
  if (HAL_TIM_Base_Init(&htim16) != HAL_OK)
  {
    Error_Handler();
  }

}

static void MX_DMA_Init(void)
{

  /* DMA controller clock enable */
  __HAL_RCC_DMAMUX1_CLK_ENABLE();
  __HAL_RCC_DMA1_CLK_ENABLE();

  /* DMA interrupt init */
  /* DMA1_Channel1_IRQn interrupt configuration */
  HAL_NVIC_SetPriority(DMA1_Channel1_IRQn, 5, 0);
  HAL_NVIC_EnableIRQ(DMA1_Channel1_IRQn);
  /* DMA1_Channel2_IRQn interrupt configuration */
  HAL_NVIC_SetPriority(DMA1_Channel2_IRQn, 5, 0);
  HAL_NVIC_EnableIRQ(DMA1_Channel2_IRQn);

}

static void MX_GPIO_Init(void)
{
  GPIO_InitTypeDef GPIO_InitStruct = {0};

  /* GPIO Ports Clock Enable */
  __HAL_RCC_GPIOC_CLK_ENABLE();
  __HAL_RCC_GPIOA_CLK_ENABLE();
  __HAL_RCC_GPIOB_CLK_ENABLE();

  /*Configure GPIO pin Output Level */
  HAL_GPIO_WritePin(GPIOB, ENC_EN_Pin|DRV_EN_Pin|DRV_CAL_Pin, GPIO_PIN_RESET);

  /*Configure GPIO pin Output Level */
  HAL_GPIO_WritePin(INLX_GPIO_Port, INLX_Pin, GPIO_PIN_RESET);

  /*Configure GPIO pins : DIP_1_Pin DIP_2_Pin DIP_3_Pin */
  GPIO_InitStruct.Pin = DIP_1_Pin|DIP_2_Pin|DIP_3_Pin;
  GPIO_InitStruct.Mode = GPIO_MODE_INPUT;
  GPIO_InitStruct.Pull = GPIO_PULLUP;
  HAL_GPIO_Init(GPIOC, &GPIO_InitStruct);

  /*Configure GPIO pins : ENC_EN_Pin DRV_EN_Pin DRV_CAL_Pin */
  GPIO_InitStruct.Pin = ENC_EN_Pin|DRV_EN_Pin|DRV_CAL_Pin;
  GPIO_InitStruct.Mode = GPIO_MODE_OUTPUT_PP;
  GPIO_InitStruct.Pull = GPIO_NOPULL;
  GPIO_InitStruct.Speed = GPIO_SPEED_FREQ_LOW;
  HAL_GPIO_Init(GPIOB, &GPIO_InitStruct);

  /*Configure GPIO pins : IFA_Pin PB5 */
  GPIO_InitStruct.Pin = IFA_Pin|GPIO_PIN_5;
  GPIO_InitStruct.Mode = GPIO_MODE_IT_RISING;
  GPIO_InitStruct.Pull = GPIO_NOPULL;
  HAL_GPIO_Init(GPIOB, &GPIO_InitStruct);

  /*Configure GPIO pins : IFB_Pin DRV_NFAULT_Pin */
  GPIO_InitStruct.Pin = IFB_Pin|DRV_NFAULT_Pin;
  GPIO_InitStruct.Mode = GPIO_MODE_INPUT;
  GPIO_InitStruct.Pull = GPIO_NOPULL;
  HAL_GPIO_Init(GPIOB, &GPIO_InitStruct);

  /*Configure GPIO pin : INLX_Pin */
  GPIO_InitStruct.Pin = INLX_Pin;
  GPIO_InitStruct.Mode = GPIO_MODE_OUTPUT_PP;
  GPIO_InitStruct.Pull = GPIO_NOPULL;
  GPIO_InitStruct.Speed = GPIO_SPEED_FREQ_LOW;
  HAL_GPIO_Init(INLX_GPIO_Port, &GPIO_InitStruct);

  /* EXTI interrupt init*/
  HAL_NVIC_SetPriority(EXTI1_IRQn, 1, 0);
  HAL_NVIC_EnableIRQ(EXTI1_IRQn);

}

/* USER CODE BEGIN 4 */
void HAL_GPIO_EXTI_Callback(uint16_t pin){
  if(pin == IFA_Pin){
    encoder_ISR();
  }
}

// void HAL_ADC_ConvCpltCallback(ADC_HandleTypeDef *hadc){
//   if(hadc->Instance == ADC2){
//     HAL_GPIO_TogglePin(TEST_GPIO_Port, TEST_Pin);
//   }
// }

/* USER CODE END 4 */

void StartDefaultTask(void *argument)
{
  for(;;)
  {
    osDelay(1);
  }
}

void StartStatusBlink(void *argument)
{
  /* USER CODE BEGIN StartStatusBlink */
  /* Infinite loop */
  for(;;)
  {
    app_status_led_task();
  }
  /* USER CODE END StartStatusBlink */
}

void StartMainStateLoop(void *argument)
{
  /* USER CODE BEGIN StartMainStateLoop */
  /* Infinite loop */
  for(;;)
  {
    drive_state_machine();
  }
  /* USER CODE END StartMainStateLoop */
}

void HAL_TIM_PeriodElapsedCallback(TIM_HandleTypeDef *htim)
{
  /* USER CODE BEGIN Callback 0 */
  if(htim->Instance == TIM6){
    current_control_loop();
  }

  if(htim->Instance == TIM16){
    control_loop();
  }

  /* USER CODE END Callback 0 */
  if (htim->Instance == TIM2) {
    HAL_IncTick();
  }
}

void Error_Handler(void)
{
  __disable_irq();
  while (1)
  {
  }
}
